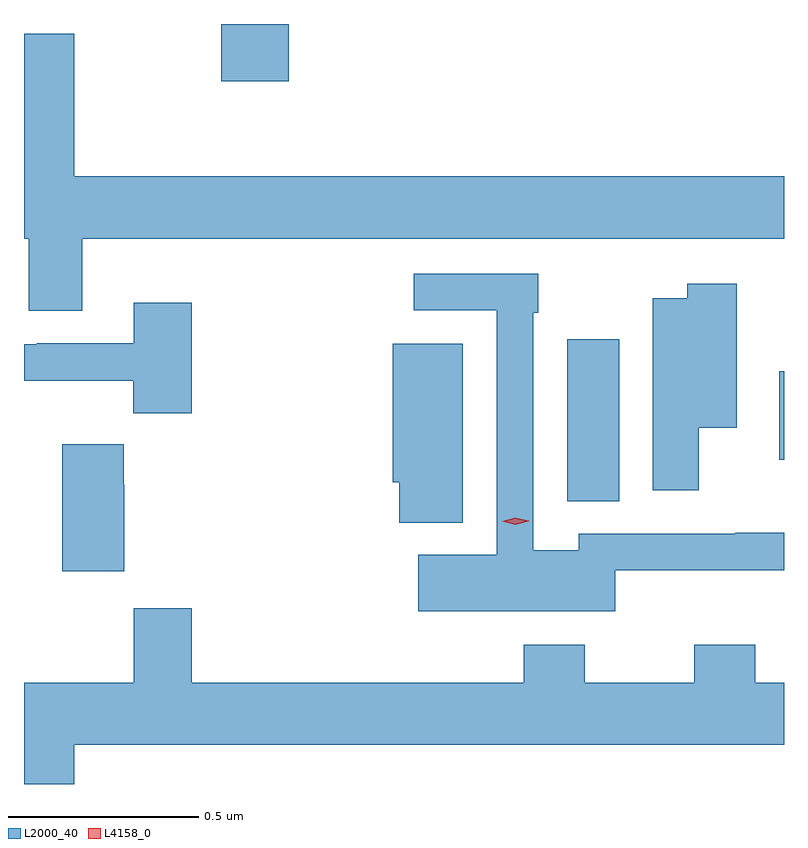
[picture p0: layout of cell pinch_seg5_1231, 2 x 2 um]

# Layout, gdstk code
import gdstk
lib = gdstk.Library(unit=1e-6, precision=1e-09)
def R(c, l, rs):  # rectangles x0, y0, x1, y1
    for r in rs: c.add(gdstk.rectangle(r[:2], r[2:], *l))
def P(c, l, *ps):  # polygons
    for p in ps: c.add(gdstk.Polygon(p, *l))
L2000_40 = (2000, 40)
L4158_0 = (4158, 0)

pinch_seg5_1231 = lib.new_cell('pinch_seg5_1231')
R(pinch_seg5_1231, L2000_40, [(502.133,905.353,502.27,905.779), (502.691,905.462,502.704,905.695), (501.223,906.459,501.401,906.609)])
P(pinch_seg5_1231, L2000_40, [(500.857,906.044),(502.704,906.044),(502.704,906.208),(500.836,906.208),(500.836,906.583),(500.704,906.583),(500.704,906.044),(500.717,906.044),(500.717,905.854),(500.857,905.854)],
  [(502.26,905.171),(502.704,905.171),(502.704,905.27),(502.576,905.27),(502.576,905.268),(502.164,905.268),(502.164,905.224),(502.044,905.224),(502.044,905.849),(502.057,905.849),(502.057,905.952),(501.729,905.952),(501.729,905.856),(501.948,905.856),(501.948,905.212),(501.741,905.212),(501.741,905.063),(502.26,905.063)],
  [(502.48,905.546),(502.579,905.546),(502.579,905.926),(502.45,905.926),(502.45,905.887),(502.358,905.887),(502.358,905.382),(502.48,905.382)],
  [(501.146,905.875),(500.993,905.875),(500.993,905.769),(500.737,905.769),(500.737,905.766),(500.704,905.766),(500.704,905.67),(500.991,905.67),(500.991,905.585),(501.146,905.585)],
  [(501.859,905.767),(501.674,905.767),(501.674,905.403),(501.692,905.403),(501.692,905.297),(501.859,905.297)],
  [(500.968,905.396),(500.966,905.396),(500.966,905.503),(500.804,905.503),(500.804,905.169),(500.968,905.169)],
  [(500.836,904.712),(502.704,904.712),(502.704,904.876),(502.628,904.876),(502.628,904.975),(502.468,904.975),(502.468,904.876),(502.179,904.876),(502.179,904.975),(502.019,904.975),(502.019,904.876),(501.146,904.876),(501.146,905.071),(500.993,905.071),(500.993,904.876),(500.704,904.876),(500.704,904.609),(500.836,904.609)])
P(pinch_seg5_1231, L4158_0, [(501.997,905.291),(501.962,905.3),(501.962,905.3),(501.962,905.3),(501.997,905.31),(502.032,905.302),(502.032,905.301),(502.032,905.301)])

lib.write_gds('pinch_seg5_1231.gds')
